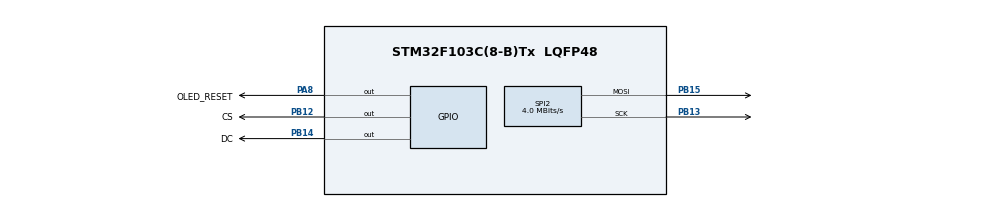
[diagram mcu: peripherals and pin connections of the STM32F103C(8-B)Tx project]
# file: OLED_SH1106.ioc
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Mcu.Family=STM32F1
Mcu.Name=STM32F103C(8-B)Tx
Mcu.Package=LQFP48
NVIC.PriorityGroup=NVIC_PRIORITYGROUP_4
PA13.Mode=Serial_Wire
PA13.Signal=SYS_JTMS-SWDIO
PA14.Mode=Serial_Wire
PA14.Signal=SYS_JTCK-SWCLK
PA8.GPIO_Label=OLED_RESET
PA8.Signal=GPIO_Output
PB12.GPIO_Label=CS
PB12.Signal=GPIO_Output
PB13.Mode=TX_Only_Simplex_Unidirect_Master
PB13.Signal=SPI2_SCK
PB14.GPIO_Label=DC
PB14.Signal=GPIO_Output
PB15.Mode=TX_Only_Simplex_Unidirect_Master
PB15.Signal=SPI2_MOSI
ProjectManager.HeapSize=0x200
ProjectManager.StackSize=0x400
ProjectManager.TargetToolchain=STM32CubeIDE
RCC.APB1Freq_Value=8000000
RCC.APB2Freq_Value=8000000
SPI2.CalculateBaudRate=4.0 MBits/s
SPI2.Direction=SPI_DIRECTION_2LINES
SPI2.Mode=SPI_MODE_MASTER
SPI2.VirtualType=VM_MASTER
board=custom

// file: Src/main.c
/* USER CODE BEGIN Header */
/**
  ******************************************************************************
  * @file           : main.c
  * @brief          : Main program body
  ******************************************************************************
  * @attention
  *
  * <h2><center>&copy; Copyright (c) 2019 STMicroelectronics.
  * All rights reserved.</center></h2>
  *
  * This software component is licensed by ST under BSD 3-Clause license,
  * the "License"; You may not use this file except in compliance with the
  * License. You may obtain a copy of the License at:
  *                        opensource.org/licenses/BSD-3-Clause
  *
  ******************************************************************************
  */
/* USER CODE END Header */

#include "main.h"
#include "stdint.h"
#include "SH1103.h"

SPI_HandleTypeDef hspi2;

void SystemClock_Config(void);
static void MX_GPIO_Init(void);
static void MX_SPI2_Init(void);
/* USER CODE BEGIN PFP */
static uint8_t mybuffer[64 * 128 / 8] = {
0x00, 0x00, 0x00, 0x00, 0x00, 0x00, 0x00, 0x00, 0x00, 0x00, 0x00, 0x00, 0x00, 0x00, 0x00, 0x00,
0x00, 0x00, 0x00, 0x00, 0x00, 0x00, 0x00, 0x00, 0x00, 0x00, 0x00, 0x00, 0x00, 0x00, 0x00, 0x00,
0x00, 0x00, 0x00, 0x00, 0x00, 0x00, 0x00, 0x00, 0x00, 0x00, 0x00, 0x00, 0x00, 0x00, 0x00, 0x00,
0x00, 0x00, 0x00, 0x00, 0x00, 0x00, 0x00, 0x00, 0x00, 0x00, 0x00, 0x00, 0x00, 0x00, 0x00, 0x80,
0x80, 0x80, 0x00, 0x00, 0x00, 0x00, 0x00, 0x00, 0x00, 0x00, 0x00, 0x00, 0x00, 0x00, 0x00, 0x00,
0x00, 0x80, 0x80, 0xC0, 0xC0, 0x00, 0x00, 0x00, 0x00, 0x00, 0x00, 0x00, 0x00, 0x00, 0x00, 0x00,
0x00, 0x00, 0x00, 0x00, 0x00, 0x00, 0x00, 0x00, 0x00, 0x00, 0x00, 0x00, 0x00, 0x00, 0x00, 0x00,
0x00, 0x00, 0x00, 0x00, 0x00, 0x00, 0x00, 0x00, 0x00, 0x00, 0x00, 0x00, 0x00, 0x00, 0x00, 0x00,
0x00, 0x00, 0x00, 0x00, 0x00, 0x00, 0x00, 0x00, 0x00, 0x00, 0x00, 0x00, 0x00, 0x00, 0x00, 0x00,
0x00, 0x00, 0x00, 0x00, 0x80, 0xC0, 0xE0, 0xF0, 0xF8, 0xFC, 0xF8, 0xE0, 0x00, 0x00, 0x00, 0x00,
0x00, 0x00, 0x00, 0x00, 0x00, 0x00, 0x00, 0x00, 0x00, 0x00, 0x00, 0x00, 0x00, 0x80, 0x80, 0x80,
0x80, 0x80, 0x00, 0x80, 0x80, 0x00, 0x00, 0x00, 0x00, 0x80, 0x80, 0x80, 0x80, 0x80, 0x00, 0xFF,
0xFF, 0xFF, 0x00, 0x00, 0x00, 0x00, 0x80, 0x80, 0x80, 0x80, 0x00, 0x00, 0x80, 0x80, 0x00, 0x00,
0x80, 0xFF, 0xFF, 0x80, 0x80, 0x00, 0x80, 0x80, 0x00, 0x80, 0x80, 0x80, 0x80, 0x00, 0x80, 0x80,
0x00, 0x00, 0x00, 0x00, 0x00, 0x80, 0x80, 0x00, 0x00, 0x8C, 0x8E, 0x84, 0x00, 0x00, 0x80, 0xF8,
0xF8, 0xF8, 0x80, 0x00, 0x00, 0x00, 0x00, 0x00, 0x00, 0x00, 0x00, 0x00, 0x00, 0x00, 0x00, 0x00,
0xF0, 0xF0, 0xF0, 0xF0, 0xF0, 0xF0, 0xF0, 0xF0, 0xF0, 0xF0, 0xF0, 0xF0, 0xE0, 0xE0, 0xC0, 0x80,
0x00, 0xE0, 0xFC, 0xFE, 0xFF, 0xFF, 0xFF, 0x7F, 0xFF, 0xFF, 0xFF, 0xFF, 0xFF, 0x00, 0x00, 0x00,
0x00, 0x00, 0x00, 0x00, 0x00, 0x00, 0x00, 0x00, 0x00, 0x00, 0x00, 0xFE, 0xFF, 0xC7, 0x01, 0x01,
0x01, 0x01, 0x83, 0xFF, 0xFF, 0x00, 0x00, 0x7C, 0xFE, 0xC7, 0x01, 0x01, 0x01, 0x01, 0x83, 0xFF,
0xFF, 0xFF, 0x00, 0x38, 0xFE, 0xC7, 0x83, 0x01, 0x01, 0x01, 0x83, 0xC7, 0xFF, 0xFF, 0x00, 0x00,
0x01, 0xFF, 0xFF, 0x01, 0x01, 0x00, 0xFF, 0xFF, 0x07, 0x01, 0x01, 0x01, 0x00, 0x00, 0x7F, 0xFF,
0x80, 0x00, 0x00, 0x00, 0xFF, 0xFF, 0x7F, 0x00, 0x00, 0xFF, 0xFF, 0xFF, 0x00, 0x00, 0x01, 0xFF,
0xFF, 0xFF, 0x01, 0x00, 0x00, 0x00, 0x00, 0x00, 0x00, 0x00, 0x00, 0x00, 0x00, 0x00, 0x00, 0x00,
0x03, 0x0F, 0x3F, 0x7F, 0x7F, 0xFF, 0xFF, 0xFF, 0xFF, 0xFF, 0xFF, 0xFF, 0xE7, 0xC7, 0xC7, 0x8F,
0x8F, 0x9F, 0xBF, 0xFF, 0xFF, 0xC3, 0xC0, 0xF0, 0xFF, 0xFF, 0xFF, 0xFF, 0xFF, 0xFC, 0xFC, 0xFC,
0xFC, 0xFC, 0xFC, 0xFC, 0xFC, 0xF8, 0xF8, 0xF0, 0xF0, 0xE0, 0xC0, 0x00, 0x01, 0x03, 0x03, 0x03,
0x03, 0x03, 0x01, 0x03, 0x03, 0x00, 0x00, 0x00, 0x00, 0x01, 0x03, 0x03, 0x03, 0x03, 0x01, 0x01,
0x03, 0x01, 0x00, 0x00, 0x00, 0x01, 0x03, 0x03, 0x03, 0x03, 0x01, 0x01, 0x03, 0x03, 0x00, 0x00,
0x00, 0x03, 0x03, 0x00, 0x00, 0x00, 0x03, 0x03, 0x00, 0x00, 0x00, 0x00, 0x00, 0x00, 0x00, 0x01,
0x03, 0x03, 0x03, 0x03, 0x03, 0x01, 0x00, 0x00, 0x00, 0x01, 0x03, 0x01, 0x00, 0x00, 0x00, 0x03,
0x03, 0x01, 0x00, 0x00, 0x00, 0x00, 0x00, 0x00, 0x00, 0x00, 0x00, 0x00, 0x00, 0x00, 0x00, 0x00,
0x00, 0x00, 0x00, 0x80, 0xC0, 0xE0, 0xF0, 0xF9, 0xFF, 0xFF, 0xFF, 0xFF, 0xFF, 0x3F, 0x1F, 0x0F,
0x87, 0xC7, 0xF7, 0xFF, 0xFF, 0x1F, 0x1F, 0x3D, 0xFC, 0xF8, 0xF8, 0xF8, 0xF8, 0x7C, 0x7D, 0xFF,
0xFF, 0xFF, 0xFF, 0xFF, 0xFF, 0xFF, 0xFF, 0x7F, 0x3F, 0x0F, 0x07, 0x00, 0x30, 0x30, 0x00, 0x00,
0x00, 0x00, 0x00, 0x00, 0x00, 0x00, 0x00, 0x00, 0x00, 0x00, 0x00, 0x00, 0x00, 0x00, 0x00, 0x00,
0x00, 0x00, 0x00, 0x00, 0xFE, 0xFE, 0xFC, 0x00, 0x00, 0x00, 0x00, 0x00, 0x00, 0x00, 0x00, 0x00,
0x00, 0x00, 0x00, 0x00, 0x00, 0x00, 0x00, 0x00, 0x00, 0x00, 0x00, 0x00, 0x00, 0xE0, 0xC0, 0x00,
0x00, 0x00, 0x00, 0x00, 0x00, 0x00, 0x00, 0x00, 0x00, 0x00, 0x30, 0x30, 0x00, 0x00, 0x00, 0x00,
0x00, 0x00, 0x00, 0x00, 0x00, 0x00, 0x00, 0x00, 0x00, 0x00, 0x00, 0x00, 0x00, 0x00, 0x00, 0x00,
0x00, 0xC0, 0xFE, 0xFF, 0xFF, 0xFF, 0xFF, 0xFF, 0xFF, 0xFF, 0xFF, 0xFF, 0x7F, 0x7F, 0x3F, 0x1F,
0x0F, 0x07, 0x1F, 0x7F, 0xFF, 0xFF, 0xF8, 0xF8, 0xFF, 0xFF, 0xFF, 0xFF, 0xFF, 0xFE, 0xF8, 0xE0,
0x00, 0x00, 0x00, 0x01, 0x00, 0x00, 0x00, 0x00, 0x00, 0x00, 0x00, 0x00, 0xFE, 0xFE, 0x00, 0x00,
0x00, 0xFC, 0xFE, 0xFC, 0x0C, 0x06, 0x06, 0x0E, 0xFC, 0xF8, 0x00, 0x00, 0xF0, 0xF8, 0x1C, 0x0E,
0x06, 0x06, 0x06, 0x0C, 0xFF, 0xFF, 0xFF, 0x00, 0x00, 0xFE, 0xFE, 0x00, 0x00, 0x00, 0x00, 0xFC,
0xFE, 0xFC, 0x00, 0x18, 0x3C, 0x7E, 0x66, 0xE6, 0xCE, 0x84, 0x00, 0x00, 0x06, 0xFF, 0xFF, 0x06,
0x06, 0xFC, 0xFE, 0xFC, 0x0C, 0x06, 0x06, 0x06, 0x00, 0x00, 0xFE, 0xFE, 0x00, 0x00, 0xC0, 0xF8,
0xFC, 0x4E, 0x46, 0x46, 0x46, 0x4E, 0x7C, 0x78, 0x40, 0x18, 0x3C, 0x76, 0xE6, 0xCE, 0xCC, 0x80,
0x00, 0x00, 0x00, 0x00, 0x00, 0x00, 0x00, 0x00, 0x00, 0x00, 0x00, 0x00, 0x00, 0x00, 0x00, 0x00,
0x00, 0x00, 0x00, 0x00, 0x01, 0x07, 0x0F, 0x1F, 0x1F, 0x3F, 0x3F, 0x3F, 0x3F, 0x1F, 0x0F, 0x03,
0x00, 0x00, 0x00, 0x00, 0x00, 0x00, 0x00, 0x00, 0x00, 0x00, 0x00, 0x00, 0x0F, 0x0F, 0x00, 0x00,
0x00, 0x0F, 0x0F, 0x0F, 0x00, 0x00, 0x00, 0x00, 0x0F, 0x0F, 0x00, 0x00, 0x03, 0x07, 0x0E, 0x0C,
0x18, 0x18, 0x0C, 0x06, 0x0F, 0x0F, 0x0F, 0x00, 0x00, 0x01, 0x0F, 0x0E, 0x0C, 0x18, 0x0C, 0x0F,
0x07, 0x01, 0x00, 0x04, 0x0E, 0x0C, 0x18, 0x0C, 0x0F, 0x07, 0x00, 0x00, 0x00, 0x0F, 0x0F, 0x00,
0x00, 0x0F, 0x0F, 0x0F, 0x00, 0x00, 0x00, 0x00, 0x00, 0x00, 0x0F, 0x0F, 0x00, 0x00, 0x00, 0x07,
0x07, 0x0C, 0x0C, 0x18, 0x1C, 0x0C, 0x06, 0x06, 0x00, 0x04, 0x0E, 0x0C, 0x18, 0x0C, 0x0F, 0x07,
0x00, 0x00, 0x00, 0x00, 0x00, 0x00, 0x00, 0x00, 0x00, 0x00, 0x00, 0x00, 0x00, 0x00, 0x00, 0x00,
0x00, 0x00, 0x00, 0x00, 0x00, 0x00, 0x00, 0x00, 0x00, 0x00, 0x00, 0x00, 0x00, 0x00, 0x00, 0x00,
0x00, 0x00, 0x00, 0x00, 0x00, 0x00, 0x00, 0x00, 0x00, 0x00, 0x00, 0x00, 0x00, 0x00, 0x00, 0x00,
0x00, 0x00, 0x00, 0x00, 0x00, 0x00, 0x00, 0x00, 0x00, 0x00, 0x00, 0x00, 0x00, 0x00, 0x00, 0x00,
0x00, 0x00, 0x00, 0x00, 0x00, 0x00, 0x00, 0x00, 0x00, 0x00, 0x00, 0x00, 0x00, 0x00, 0x00, 0x00,
0x00, 0x00, 0x00, 0x00, 0x00, 0x00, 0x00, 0x00, 0x00, 0x00, 0x00, 0x00, 0x00, 0x00, 0x00, 0x00,
0x00, 0x00, 0x00, 0x00, 0x00, 0x00, 0x00, 0x00, 0x00, 0x00, 0x00, 0x00, 0x00, 0x00, 0x00, 0x00,
0x00, 0x00, 0x00, 0x00, 0x00, 0x00, 0x00, 0x00, 0x00, 0x00, 0x00, 0x00, 0x00, 0x00, 0x00, 0x00
};

/* USER CODE END PFP */

#define MY_CMD(c)        do { HAL_GPIO_WritePin( DC_GPIO_Port, DC_Pin, GPIO_PIN_RESET); \
                           ssd1306SendByte( c ); \
                         } while (0);

void MyClear(void)
{
  int n,i,k,j,p;
  unsigned char m_row = 0;
	unsigned char m_col = 2;
	unsigned char width = 132;
	unsigned char height = 64;

 // unsigned char myBuffer[1];

  //myBuffer[0]=0xff;

  MY_CMD(SSD1306_SETLOWCOLUMN  | 0x0);  // low col = 0
  MY_CMD(SSD1306_SETHIGHCOLUMN | 0x0);  // hi col = 0
  MY_CMD(SSD1306_SETSTARTLINE  | 0x0);  // line #0

	height >>= 3;
	width >>= 3;

  p = 0;
  for (i=0; i < height; i++)
  {
    MY_CMD(0xB0 + i + m_row);//set page address
    MY_CMD(m_col & 0xf);//set lower column address
    MY_CMD(0x10 | (m_col >> 4));//set higher column address
    //HAL_GPIO_WritePin( DC_GPIO_Port, DC_Pin, GPIO_PIN_RESET);
    HAL_GPIO_WritePin( DC_GPIO_Port, DC_Pin, GPIO_PIN_SET);
    for (j = 0; j < 8; j++)
    {
      for ( k = 0; k < width; k++, p++)
      {
        //fastSPIwrite(buffer[p]);
        HAL_SPI_Transmit  ( &hspi2,  (uint8_t *) &mybuffer[p], 1, 200) ;
      }
    }
  }

}

int main(void)
{

  /* MCU Configuration--------------------------------------------------------*/

  /* Reset of all peripherals, Initializes the Flash interface and the Systick. */
  HAL_Init();

  /* Configure the system clock */
  SystemClock_Config();

  /* Initialize all configured peripherals */
  MX_GPIO_Init();
  MX_SPI2_Init();
  /* USER CODE BEGIN 2 */
  HAL_GPIO_WritePin( GPIOA, GPIO_PIN_8, GPIO_PIN_SET);
  HAL_Delay(100);
  HAL_GPIO_WritePin( GPIOA, GPIO_PIN_8, GPIO_PIN_RESET);
  HAL_Delay(100);
  HAL_GPIO_WritePin( GPIOA, GPIO_PIN_8, GPIO_PIN_SET);
  ssd1306Init(SSD1306_CHARGEPUMP);
  MyClear();

  /* USER CODE END 2 */

  /* Infinite loop */
  while (1)
  {

  }
}

void SystemClock_Config(void)
{
  RCC_OscInitTypeDef RCC_OscInitStruct = {0};
  RCC_ClkInitTypeDef RCC_ClkInitStruct = {0};

  /** Initializes the CPU, AHB and APB busses clocks
  */
  RCC_OscInitStruct.OscillatorType = RCC_OSCILLATORTYPE_HSI;
  RCC_OscInitStruct.HSIState = RCC_HSI_ON;
  RCC_OscInitStruct.HSICalibrationValue = RCC_HSICALIBRATION_DEFAULT;
  RCC_OscInitStruct.PLL.PLLState = RCC_PLL_NONE;
  if (HAL_RCC_OscConfig(&RCC_OscInitStruct) != HAL_OK)
  {
    Error_Handler();
  }
  /** Initializes the CPU, AHB and APB busses clocks
  */
  RCC_ClkInitStruct.ClockType = RCC_CLOCKTYPE_HCLK|RCC_CLOCKTYPE_SYSCLK
                              |RCC_CLOCKTYPE_PCLK1|RCC_CLOCKTYPE_PCLK2;
  RCC_ClkInitStruct.SYSCLKSource = RCC_SYSCLKSOURCE_HSI;
  RCC_ClkInitStruct.AHBCLKDivider = RCC_SYSCLK_DIV1;
  RCC_ClkInitStruct.APB1CLKDivider = RCC_HCLK_DIV1;
  RCC_ClkInitStruct.APB2CLKDivider = RCC_HCLK_DIV1;

  if (HAL_RCC_ClockConfig(&RCC_ClkInitStruct, FLASH_LATENCY_0) != HAL_OK)
  {
    Error_Handler();
  }
}

static void MX_SPI2_Init(void)
{

  /* SPI2 parameter configuration*/
  hspi2.Instance = SPI2;
  hspi2.Init.Mode = SPI_MODE_MASTER;
  hspi2.Init.Direction = SPI_DIRECTION_2LINES;
  hspi2.Init.DataSize = SPI_DATASIZE_8BIT;
  hspi2.Init.CLKPolarity = SPI_POLARITY_LOW;
  hspi2.Init.CLKPhase = SPI_PHASE_1EDGE;
  hspi2.Init.NSS = SPI_NSS_SOFT;
  hspi2.Init.BaudRatePrescaler = SPI_BAUDRATEPRESCALER_2;
  hspi2.Init.FirstBit = SPI_FIRSTBIT_MSB;
  hspi2.Init.TIMode = SPI_TIMODE_DISABLE;
  hspi2.Init.CRCCalculation = SPI_CRCCALCULATION_DISABLE;
  hspi2.Init.CRCPolynomial = 10;
  if (HAL_SPI_Init(&hspi2) != HAL_OK)
  {
    Error_Handler();
  }

}

static void MX_GPIO_Init(void)
{
  GPIO_InitTypeDef GPIO_InitStruct = {0};

  /* GPIO Ports Clock Enable */
  __HAL_RCC_GPIOB_CLK_ENABLE();
  __HAL_RCC_GPIOA_CLK_ENABLE();

  /*Configure GPIO pin Output Level */
  HAL_GPIO_WritePin(GPIOB, CS_Pin|DC_Pin, GPIO_PIN_RESET);

  /*Configure GPIO pin Output Level */
  HAL_GPIO_WritePin(OLED_RESET_GPIO_Port, OLED_RESET_Pin, GPIO_PIN_RESET);

  /*Configure GPIO pins : CS_Pin DC_Pin */
  GPIO_InitStruct.Pin = CS_Pin|DC_Pin;
  GPIO_InitStruct.Mode = GPIO_MODE_OUTPUT_PP;
  GPIO_InitStruct.Pull = GPIO_NOPULL;
  GPIO_InitStruct.Speed = GPIO_SPEED_FREQ_LOW;
  HAL_GPIO_Init(GPIOB, &GPIO_InitStruct);

  /*Configure GPIO pin : OLED_RESET_Pin */
  GPIO_InitStruct.Pin = OLED_RESET_Pin;
  GPIO_InitStruct.Mode = GPIO_MODE_OUTPUT_PP;
  GPIO_InitStruct.Pull = GPIO_NOPULL;
  GPIO_InitStruct.Speed = GPIO_SPEED_FREQ_LOW;
  HAL_GPIO_Init(OLED_RESET_GPIO_Port, &GPIO_InitStruct);

}

void Error_Handler(void)
{
}

/************************ (C) COPYRIGHT STMicroelectronics *****END OF FILE****/
